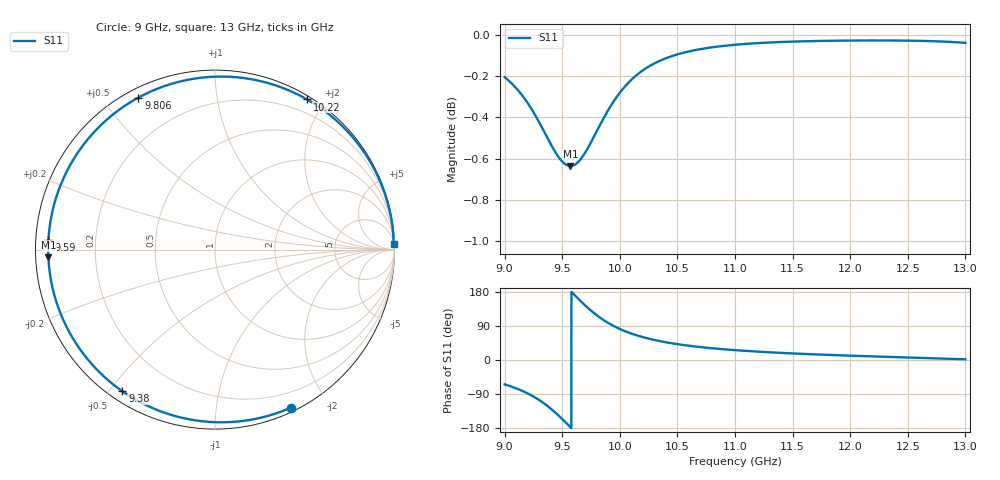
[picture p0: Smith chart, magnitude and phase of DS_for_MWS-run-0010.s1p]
! TOUCHSTONE file generated by CST DESIGN STUDIO
! Date and time: Tue Feb  4 13:28:01 2025
! Project name: C:\Work\MatlabApps\UnitCellOptimizationMatlab\CST\unitcell.cst
! Tree item: Tasks\Sweep1\SPara1\S-Parameters
! Header version: 2024
! Port assignment regex: !\s*Touchstone port\s*([0-9]+)\s*=\s*(CST MWS port|CST DES external port|CST DES block port)\s*(.+)\s* \(\"(.*)\"\)(\s*mode\s*([0-9]+))?.*
! Touchstone port assignment:
! Touchstone port 1 = CST DES external port 1 ("")
# GHz S MA R 50
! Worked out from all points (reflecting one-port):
!   4001 points, 9 GHz to 13 GHz, reference 50 ohm
!   lowest |S11| = -0.6 dB at 9.571 GHz (marker M1), VSWR 27.31, Z = 1.83 - j1.15 ohm
!   phase of S11 starts at -64 deg and turns -294 deg over the sweep
!   S11 on the Smith chart (normalised r, x): 9 GHz: 0.04, -1.59; 9.38 GHz: 0.04, -0.54; 9.59 GHz: 0.04, +0.03; 9.806 GHz: 0.04, +0.62; 10.22 GHz: 0.04, +1.79; 13 GHz: 9, +62
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9  0.9768 -64.4
9.046  0.9742 -68.8
9.114  0.9698 -76.4
9.231  0.9597 -93.1
9.31  0.9512 -107.6
9.38  0.9431 -123.1
9.439  0.9367 -138.3
9.5  0.9317 -155.7
9.536  0.9299 -166.5
9.571  0.9293 -177.4
9.59  0.9295 176.8
9.645  0.9318 159.9
9.705  0.9369 142.4
9.755  0.9424 129.0
9.806  0.9484 116.7
9.848  0.9532 107.7
9.893  0.9582 98.9
10  0.9682 81.9
10.106  0.9756 69.2
10.223  0.9814 58.5
10.351  0.9858 49.6
10.5  0.9893 41.8
10.72  0.9924 33.4
11  0.9946 26.0
11.5  0.9964 17.3
12  0.9969 11.4
12.5  0.9969 6.6
13  0.9957 1.8
